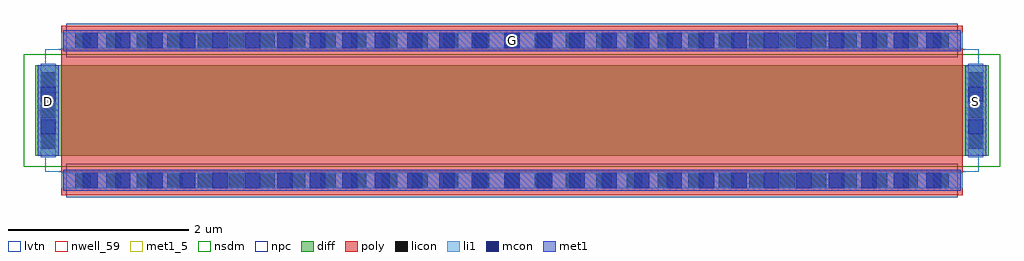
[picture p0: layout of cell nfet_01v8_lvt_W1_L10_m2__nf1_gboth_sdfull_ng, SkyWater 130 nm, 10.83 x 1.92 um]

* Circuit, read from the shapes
.subckt nfet_01v8_lvt_W1_L10_m2__nf1_gboth_sdfull_ng B D G S
XM1 S G D B sky130_fd_pr__nfet_01v8_lvt w=1 l=10
.ends

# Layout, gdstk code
import gdstk
lib = gdstk.Library(unit=1e-6, precision=1e-09)
def R(c, l, rs):  # rectangles x0, y0, x1, y1
    for r in rs: c.add(gdstk.rectangle(r[:2], r[2:], *l))
def A(c, l, x, y, w, h, nx, ny, dx, dy):  # array of equal rectangles
    R(c, l, [(x+i*dx, y+j*dy, x+i*dx+w, y+j*dy+h) for i in range(nx) for j in range(ny)])
nwell_59 = (64, 59)
diff = (65, 20)
poly = (66, 20)
licon = (66, 44)
li1 = (67, 20)
mcon = (67, 44)
met1_5 = (68, 5)
met1 = (68, 20)
nsdm = (93, 44)
npc = (95, 20)
lvtn = (125, 44)

sky130_fd_pr__nfet_01v8_ = lib.new_cell('sky130_fd_pr__nfet_01v8_lvt_7VF3LY')
R(sky130_fd_pr__nfet_01v8_, diff, [(-5.29,-0.5,5.29,0.5)])
R(sky130_fd_pr__nfet_01v8_, poly, [(-5,-0.94,5,0.94)])
A(sky130_fd_pr__nfet_01v8_, licon, -4.845, -0.86, 0.17, 0.17, 29, 2, 0.34, 1.55)
A(sky130_fd_pr__nfet_01v8_, licon, -5.23, -0.425, 0.17, 0.17, 1, 3, 0, 0.34)
A(sky130_fd_pr__nfet_01v8_, licon, 5.06, -0.425, 0.17, 0.17, 1, 3, 0, 0.34)
R(sky130_fd_pr__nfet_01v8_, li1, [(-5,-0.86,5,-0.69), (-5.23,-0.52,-5.06,0.52), (5.06,-0.52,5.23,0.52), (-5,0.69,5,0.86)])
A(sky130_fd_pr__nfet_01v8_, mcon, -4.765, -0.86, 0.17, 0.17, 27, 2, 0.36, 1.55)
R(sky130_fd_pr__nfet_01v8_, mcon, [(-5.23,-0.265,-5.06,-0.095), (5.06,-0.265,5.23,-0.095), (-5.23,0.095,-5.06,0.265), (5.06,0.095,5.23,0.265)])
R(sky130_fd_pr__nfet_01v8_, met1, [(-4.98,-0.89,4.98,-0.66), (-5.26,-0.5,-5.03,0.5), (5.03,-0.5,5.26,0.5), (-4.98,0.66,4.98,0.89)])
R(sky130_fd_pr__nfet_01v8_, nsdm, [(-5.415,-0.625,5.415,0.625)])
R(sky130_fd_pr__nfet_01v8_, npc, [(-4.945,-0.96,4.945,-0.59), (-4.945,0.59,4.945,0.96)])
R(sky130_fd_pr__nfet_01v8_, lvtn, [(-5.18,-0.68,5.18,0.68)])
sky130_fd_pr__nfet_01v8_.add(gdstk.Label('D', (-5.145,0), layer=67, texttype=5))
sky130_fd_pr__nfet_01v8_.add(gdstk.Label('S', (5.145,0), layer=67, texttype=5))
sky130_fd_pr__nfet_01v8_.add(gdstk.Label('G', (0,0.775), layer=67, texttype=5))

nfet_01v8_lvt_w1_l10_m2_ = lib.new_cell('nfet_01v8_lvt_W1_L10_m2__nf1_gboth_sdfull_ng')
R(nfet_01v8_lvt_w1_l10_m2_, nwell_59, [(0.05,0.89,0.15,0.99)])
R(nfet_01v8_lvt_w1_l10_m2_, met1_5, [(0.03,0.94,0.26,1.14), (10.32,0.94,10.55,1.14), (0.31,1.6,10.27,1.83)])
R(nfet_01v8_lvt_w1_l10_m2_, met1, [(0.03,0.94,0.26,1.14), (10.32,0.94,10.55,1.14), (0.31,1.6,10.27,1.83)])
nfet_01v8_lvt_w1_l10_m2_.add(gdstk.Reference(sky130_fd_pr__nfet_01v8_, (5.29,0.94)))
nfet_01v8_lvt_w1_l10_m2_.add(gdstk.Label('D', (0.145,1.04), layer=68, texttype=5))
nfet_01v8_lvt_w1_l10_m2_.add(gdstk.Label('S', (10.435,1.04), layer=68, texttype=5))
nfet_01v8_lvt_w1_l10_m2_.add(gdstk.Label('G', (5.29,1.715), layer=68, texttype=5))
nfet_01v8_lvt_w1_l10_m2_.add(gdstk.Label('B', (0.1,0.94), layer=64, texttype=59))

lib.write_gds('nfet_01v8_lvt_W1_L10_m2__nf1_gboth_sdfull_ng.gds')
